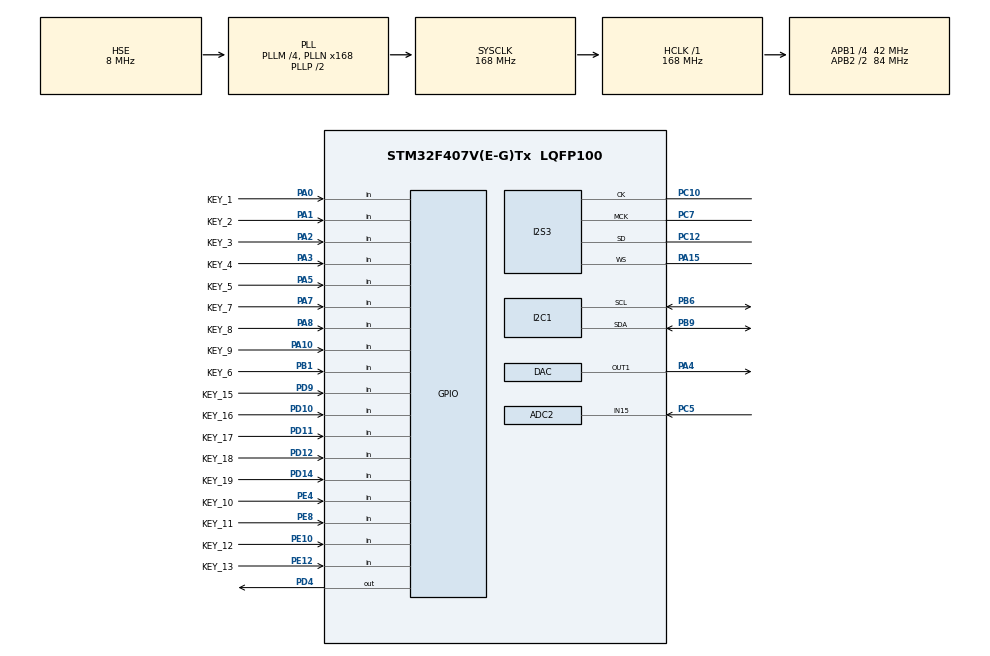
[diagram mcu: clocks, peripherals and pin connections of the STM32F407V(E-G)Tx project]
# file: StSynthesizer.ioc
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ADC2.Channel-0\#ChannelRegularConversion=ADC_CHANNEL_15
ADC2.NbrOfConversionFlag=1
ADC2.Rank-0\#ChannelRegularConversion=1
ADC2.SamplingTime-0\#ChannelRegularConversion=ADC_SAMPLETIME_3CYCLES
Dma.Request0=SPI3_TX
Dma.SPI3_TX.0.Direction=DMA_MEMORY_TO_PERIPH
Dma.SPI3_TX.0.FIFOMode=DMA_FIFOMODE_DISABLE
Dma.SPI3_TX.0.Instance=DMA1_Stream5
Dma.SPI3_TX.0.MemDataAlignment=DMA_MDATAALIGN_HALFWORD
Dma.SPI3_TX.0.MemInc=DMA_MINC_ENABLE
Dma.SPI3_TX.0.Mode=DMA_CIRCULAR
Dma.SPI3_TX.0.PeriphDataAlignment=DMA_PDATAALIGN_HALFWORD
Dma.SPI3_TX.0.PeriphInc=DMA_PINC_DISABLE
Dma.SPI3_TX.0.Priority=DMA_PRIORITY_LOW
I2S3.AudioFreq=I2S_AUDIOFREQ_48K
I2S3.ErrorAudioFreq=1.72 %
I2S3.FullDuplexMode=I2S_FULLDUPLEXMODE_DISABLE
I2S3.Instance=SPI$Index
I2S3.RealAudioFreq=48.828 KHz
I2S3.VirtualMode=I2S_MODE_MASTER
Mcu.Family=STM32F4
Mcu.Name=STM32F407V(E-G)Tx
Mcu.Package=LQFP100
NVIC.DMA1_Stream5_IRQn=true\:0\:0\:false\:false\:true\:false
NVIC.PriorityGroup=NVIC_PRIORITYGROUP_4
NVIC.TIM2_IRQn=true\:0\:0\:false\:false\:true\:true
NVIC.TIM3_IRQn=true\:0\:0\:false\:false\:true\:true
PA0-WKUP.GPIO_Label=KEY_1
PA0-WKUP.GPIO_PuPd=GPIO_PULLDOWN
PA0-WKUP.Signal=GPIO_Input
PA1.GPIO_Label=KEY_2
PA1.GPIO_PuPd=GPIO_PULLDOWN
PA1.Signal=GPIO_Input
PA10.GPIO_Label=KEY_9
PA10.GPIO_PuPd=GPIO_PULLDOWN
PA10.Signal=GPIO_Input
PA13.Mode=Trace_Asynchronous_SW
PA13.Signal=SYS_JTMS-SWDIO
PA14.Mode=Trace_Asynchronous_SW
PA14.Signal=SYS_JTCK-SWCLK
PA15.Mode=Half_Duplex_Master
PA15.Signal=I2S3_WS
PA2.GPIO_Label=KEY_3
PA2.GPIO_PuPd=GPIO_PULLDOWN
PA2.Signal=GPIO_Input
PA3.GPIO_Label=KEY_4
PA3.GPIO_PuPd=GPIO_PULLDOWN
PA3.Signal=GPIO_Input
PA4.Signal=COMP_DAC1_group
PA5.GPIO_Label=KEY_5
PA5.GPIO_PuPd=GPIO_PULLDOWN
PA5.Signal=GPIO_Input
PA7.GPIO_Label=KEY_7
PA7.GPIO_PuPd=GPIO_PULLDOWN
PA7.Signal=GPIO_Input
PA8.GPIO_Label=KEY_8
PA8.GPIO_PuPd=GPIO_PULLDOWN
PA8.Signal=GPIO_Input
PB1.GPIO_Label=KEY_6
PB1.GPIO_PuPd=GPIO_PULLDOWN
PB1.Signal=GPIO_Input
PB3.Mode=Trace_Asynchronous_SW
PB3.Signal=SYS_JTDO-SWO
PB6.Mode=I2C
PB6.Signal=I2C1_SCL
PB9.Mode=I2C
PB9.Signal=I2C1_SDA
PC10.Mode=Half_Duplex_Master
PC10.Signal=I2S3_CK
PC12.Mode=Half_Duplex_Master
PC12.Signal=I2S3_SD
PC5.Signal=ADCx_IN15
PC7.Mode=Master_Clock_Activated
PC7.Signal=I2S3_MCK
PD10.GPIO_Label=KEY_16
PD10.GPIO_PuPd=GPIO_PULLDOWN
PD10.Signal=GPIO_Input
PD11.GPIO_Label=KEY_17
PD11.GPIO_PuPd=GPIO_PULLDOWN
PD11.Signal=GPIO_Input
PD12.GPIO_Label=KEY_18
PD12.GPIO_PuPd=GPIO_PULLDOWN
PD12.Signal=GPIO_Input
PD14.GPIO_Label=KEY_19
PD14.GPIO_PuPd=GPIO_PULLDOWN
PD14.Signal=GPIO_Input
PD4.Signal=GPIO_Output
PD9.GPIO_Label=KEY_15
PD9.GPIO_PuPd=GPIO_PULLDOWN
PD9.Signal=GPIO_Input
PE10.GPIO_Label=KEY_12
PE10.GPIO_PuPd=GPIO_PULLDOWN
PE10.Signal=GPIO_Input
PE12.GPIO_Label=KEY_13
PE12.GPIO_PuPd=GPIO_PULLDOWN
PE12.Signal=GPIO_Input
PE4.GPIO_Label=KEY_10
PE4.GPIO_PuPd=GPIO_PULLDOWN
PE4.Signal=GPIO_Input
PE8.GPIO_Label=KEY_11
PE8.GPIO_PuPd=GPIO_PULLDOWN
PE8.Signal=GPIO_Input
PH0-OSC_IN.Mode=HSE-External-Oscillator
PH0-OSC_IN.Signal=RCC_OSC_IN
PH1-OSC_OUT.Mode=HSE-External-Oscillator
PH1-OSC_OUT.Signal=RCC_OSC_OUT
ProjectManager.HeapSize=0x200
ProjectManager.StackSize=0x400
ProjectManager.TargetToolchain=SW4STM32
RCC.48MHZClocksFreq_Value=84000000
RCC.AHBFreq_Value=168000000
RCC.APB1CLKDivider=RCC_HCLK_DIV4
RCC.APB1Freq_Value=42000000
RCC.APB1TimFreq_Value=84000000
RCC.APB2CLKDivider=RCC_HCLK_DIV2
RCC.APB2Freq_Value=84000000
RCC.APB2TimFreq_Value=168000000
RCC.CortexFreq_Value=168000000
RCC.HCLKFreq_Value=168000000
RCC.HSE_VALUE=8000000
RCC.HSI_VALUE=16000000
RCC.LSE_VALUE=32768
RCC.PLLI2SN=50
RCC.PLLM=4
RCC.PLLN=168
RCC.PLLSourceVirtual=RCC_PLLSOURCE_HSE
RCC.SYSCLKFreq_VALUE=168000000
RCC.SYSCLKSource=RCC_SYSCLKSOURCE_PLLCLK
RCC.VCOOutputFreq_Value=336000000
SH.ADCx_IN15.0=ADC2_IN15,IN15
SH.COMP_DAC1_group.0=DAC_OUT1,DAC_OUT1
TIM2.Period=35-1
TIM2.Prescaler=200-1
TIM3.Period=168-1
TIM3.Prescaler=5000-1
TIM3.TIM_MasterSlaveMode=TIM_MASTERSLAVEMODE_DISABLE
VP_TIM2_VS_ClockSourceINT.Mode=Internal
VP_TIM3_VS_ClockSourceINT.Mode=Internal
board=custom

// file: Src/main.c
/* USER CODE BEGIN Header */
/**
  ******************************************************************************
  * @file           : main.c
  * @brief          : Main program body
  ******************************************************************************
  ** This notice applies to any and all portions of this file
  * that are not between comment pairs USER CODE BEGIN and
  * USER CODE END. Other portions of this file, whether
  * inserted by the user or by software development tools
  * are owned by their respective copyright owners.
  *
  * COPYRIGHT(c) 2019 STMicroelectronics
  *
  * Redistribution and use in source and binary forms, with or without modification,
  * are permitted provided that the following conditions are met:
  *   1. Redistributions of source code must retain the above copyright notice,
  *      this list of conditions and the following disclaimer.
  *   2. Redistributions in binary form must reproduce the above copyright notice,
  *      this list of conditions and the following disclaimer in the documentation
  *      and/or other materials provided with the distribution.
  *   3. Neither the name of STMicroelectronics nor the names of its contributors
  *      may be used to endorse or promote products derived from this software
  *      without specific prior written permission.
  *
  * THIS SOFTWARE IS PROVIDED BY THE COPYRIGHT HOLDERS AND CONTRIBUTORS "AS IS"
  * AND ANY EXPRESS OR IMPLIED WARRANTIES, INCLUDING, BUT NOT LIMITED TO, THE
  * IMPLIED WARRANTIES OF MERCHANTABILITY AND FITNESS FOR A PARTICULAR PURPOSE ARE
  * DISCLAIMED. IN NO EVENT SHALL THE COPYRIGHT HOLDER OR CONTRIBUTORS BE LIABLE
  * FOR ANY DIRECT, INDIRECT, INCIDENTAL, SPECIAL, EXEMPLARY, OR CONSEQUENTIAL
  * DAMAGES (INCLUDING, BUT NOT LIMITED TO, PROCUREMENT OF SUBSTITUTE GOODS OR
  * SERVICES; LOSS OF USE, DATA, OR PROFITS; OR BUSINESS INTERRUPTION) HOWEVER
  * CAUSED AND ON ANY THEORY OF LIABILITY, WHETHER IN CONTRACT, STRICT LIABILITY,
  * OR TORT (INCLUDING NEGLIGENCE OR OTHERWISE) ARISING IN ANY WAY OUT OF THE USE
  * OF THIS SOFTWARE, EVEN IF ADVISED OF THE POSSIBILITY OF SUCH DAMAGE.
  *
  ******************************************************************************
  */
/* USER CODE END Header */

#include "main.h"
#include "stm32f4xx_hal.h"
#include "MY_CS43L22.h"
#include <math.h>
#include "sounds.h"
#include "key.h"

ADC_HandleTypeDef hadc2;

DAC_HandleTypeDef hdac;

I2C_HandleTypeDef hi2c1;

I2S_HandleTypeDef hi2s3;
DMA_HandleTypeDef hdma_spi3_tx;

TIM_HandleTypeDef htim2;
TIM_HandleTypeDef htim3;

/* USER CODE BEGIN PV */
#define NOTES 12
#define KEYS 18
float volume;

int key = 0;

float pressed;
uint16_t DACOut;

unsigned long time;

// current pin
uint8_t pins[NOTES];
uint8_t keys_pressed[3];
uint16_t debounce_pins_0[NOTES + 3];
uint16_t debounce_pins_1[NOTES + 3];
uint16_t i_t[NOTES];
float sumValues[NOTES];

Key keys[KEYS];
uint8_t notes_keys[NOTES];
NoteEnvelope envelopes[NOTES];

/*
void checkNotes() {
	if(debounce_pins_1[0] > 10)
		pins[0] =
	if(debounce_pins_1[1] > 10)
		pins[1] = HAL_GPIO_ReadPin(GPIOA, NOTE_2_Pin);
	if(debounce_pins_1[2] > 10)
		pins[2] = HAL_GPIO_ReadPin(GPIOA, NOTE_3_Pin);
	if(debounce_pins_1[3] > 10)
		pins[3] = HAL_GPIO_ReadPin(GPIOA, NOTE_4_Pin);
	if(debounce_pins_1[4] > 10)
		pins[4] = HAL_GPIO_ReadPin(GPIOA, NOTE_5_Pin);
	if(debounce_pins_1[5] > 10)
		pins[5] = HAL_GPIO_ReadPin(GPIOA, NOTE_6_Pin);
	if(debounce_pins_1[6] > 10)
		pins[6] = HAL_GPIO_ReadPin(GPIOC, NOTE_7_Pin);
	if(debounce_pins_1[7] > 10)
		pins[7] = HAL_GPIO_ReadPin(GPIOD, NOTE_8_Pin);
	if(debounce_pins_1[8] > 10)
		pins[8] = HAL_GPIO_ReadPin(GPIOD, NOTE_9_Pin);
	if(debounce_pins_1[9] > 10)
		pins[9] = HAL_GPIO_ReadPin(GPIOD, NOTE_10_Pin);
	if(debounce_pins_1[10] > 10)
		pins[10] = HAL_GPIO_ReadPin(GPIOD, NOTE_11_Pin);
	if(debounce_pins_1[11] > 10)
		pins[11] = HAL_GPIO_ReadPin(GPIOD, NOTE_12_Pin);
}

void checkKeys() {
	if(debounce_pins_1[12] > 10 && !keys_pressed[0]) {
		keys_pressed[0] = 1;

		if(currentOSC - 1 < 0) {
			currentOSC = 4;
		} else {
			currentOSC--;
		}
	}

	if(debounce_pins_1[13] > 10 && !keys_pressed[1]) {
		keys_pressed[1] = 1;

		if(currentOctave + 1 > 7) {
			currentOctave = 1;
		} else {
			currentOctave++;
		}
	}
}
*/

/* USER CODE END PV */

void SystemClock_Config(void);
static void MX_GPIO_Init(void);
static void MX_DMA_Init(void);
static void MX_I2C1_Init(void);
static void MX_I2S3_Init(void);
static void MX_TIM3_Init(void);
static void MX_DAC_Init(void);
static void MX_ADC2_Init(void);
static void MX_TIM2_Init(void);
/* USER CODE BEGIN PFP */
void HAL_GPIO_EXTI_Callback(uint16_t GPIO_Pin) {
	//checkNotes();
}

/* USER CODE END PFP */

/* USER CODE BEGIN 0 */
// used to generate sound
int16_t I2S_dummy[4];
float sinVal;

int notesPlaying() {
	int out = 0;

	for(int i = 0; i < NOTES; i++) {
		if(envelopes[i].is_playing || envelopes[i].is_releasing) out++;
	}

	return out;
}
/* USER CODE END 0 */

int main(void)
{

  /* MCU Configuration--------------------------------------------------------*/

  /* Reset of all peripherals, Initializes the Flash interface and the Systick. */
  HAL_Init();

  /* Configure the system clock */
  SystemClock_Config();

  /* Initialize all configured peripherals */
  MX_GPIO_Init();
  MX_DMA_Init();
  MX_I2C1_Init();
  MX_I2S3_Init();
  MX_TIM3_Init();
  MX_DAC_Init();
  MX_ADC2_Init();
  MX_TIM2_Init();
  /* USER CODE BEGIN 2 */

  // Audio stream initiazlization
  CS43_Init(hi2c1, MODE_ANALOG);
  CS43_SetVolume(50);
  CS43_Enable_RightLeft(CS43_RIGHT_LEFT);
  CS43_Start();

  // Start timer 2
  HAL_DAC_Start(&hdac, DAC_CHANNEL_1);

  HAL_TIM_Base_Start_IT(&htim2);
  HAL_TIM_Base_Start_IT(&htim3);

  HAL_I2S_Transmit_DMA(&hi2s3, (uint16_t *)I2S_dummy, 4);

  // initialize keys
  Key key_1 = {.pin_group = GPIOA, .pin = KEY_1_Pin};
  Key key_2 = {.pin_group = GPIOA, .pin = KEY_2_Pin};
  Key key_3 = {.pin_group = GPIOA, .pin = KEY_3_Pin};
  Key key_4 = {.pin_group = GPIOA, .pin = KEY_4_Pin};
  Key key_5 = {.pin_group = GPIOA, .pin = KEY_5_Pin};
  Key key_6 = {.pin_group = GPIOB, .pin = KEY_6_Pin};
  Key key_7 = {.pin_group = GPIOA, .pin = KEY_7_Pin};
  Key key_8 = {.pin_group = GPIOA, .pin = KEY_8_Pin};
  Key key_9 = {.pin_group = GPIOA, .pin = KEY_9_Pin};
  Key key_10 = {.pin_group = GPIOE, .pin = KEY_10_Pin};
  Key key_11 = {.pin_group = GPIOE, .pin = KEY_11_Pin};
  Key key_12 = {.pin_group = GPIOE, .pin = KEY_12_Pin};
  Key key_13 = {.pin_group = GPIOE, .pin = KEY_13_Pin};
  Key key_14 = {.pin_group = GPIOD, .pin = KEY_15_Pin};
  Key key_15 = {.pin_group = GPIOD, .pin = KEY_16_Pin};
  Key key_16 = {.pin_group = GPIOD, .pin = KEY_17_Pin};
  Key key_17 = {.pin_group = GPIOD, .pin = KEY_18_Pin};
  Key key_18 = {.pin_group = GPIOD, .pin = KEY_19_Pin};

  keys[0] = key_1;
  keys[1] = key_2;
  keys[2] = key_3;
  keys[3] = key_4;
  keys[4] = key_5;
  keys[5] = key_6;
  keys[6] = key_7;
  keys[7] = key_8;
  keys[8] = key_9;
  keys[9] = key_10;
  keys[10] = key_11;
  keys[11] = key_12;
  keys[12] = key_13;
  keys[13] = key_14;
  keys[14] = key_15;
  keys[15] = key_16;
  keys[16] = key_17;
  keys[17] = key_18;

  // set notes keys
  notes_keys[0] = 0;
  notes_keys[1] = 2;
  notes_keys[2] = 1;
  notes_keys[3] = 3;
  notes_keys[4] = 5;
  notes_keys[5] = 6;
  notes_keys[6] = 9;
  notes_keys[7] = 10;
  notes_keys[8] = 11;
  notes_keys[9] = 14;
  notes_keys[10] = 12;
  notes_keys[11] = 16;

  // set the envelopes
  NoteEnvelope envelope_1 = {.attackTime = 0.01f, .decayTime = 0.01f, .releaseTime = 0.1f, .startAmplitude = 1.0f, .sustainAmplitude = 0.8f};
  NoteEnvelope envelope_2 = {.attackTime = 0.01f, .decayTime = 0.01f, .releaseTime = 0.1f, .startAmplitude = 1.0f, .sustainAmplitude = 0.8f};
  NoteEnvelope envelope_3 = {.attackTime = 0.01f, .decayTime = 0.01f, .releaseTime = 0.1f, .startAmplitude = 1.0f, .sustainAmplitude = 0.8f};
  NoteEnvelope envelope_4 = {.attackTime = 0.01f, .decayTime = 0.01f, .releaseTime = 0.1f, .startAmplitude = 1.0f, .sustainAmplitude = 0.8f};
  NoteEnvelope envelope_5 = {.attackTime = 0.01f, .decayTime = 0.01f, .releaseTime = 0.1f, .startAmplitude = 1.0f, .sustainAmplitude = 0.8f};
  NoteEnvelope envelope_6 = {.attackTime = 0.01f, .decayTime = 0.01f, .releaseTime = 0.1f, .startAmplitude = 1.0f, .sustainAmplitude = 0.8f};
  NoteEnvelope envelope_7 = {.attackTime = 0.01f, .decayTime = 0.01f, .releaseTime = 0.1f, .startAmplitude = 1.0f, .sustainAmplitude = 0.8f};
  NoteEnvelope envelope_8 = {.attackTime = 0.01f, .decayTime = 0.01f, .releaseTime = 0.1f, .startAmplitude = 1.0f, .sustainAmplitude = 0.8f};
  NoteEnvelope envelope_9 = {.attackTime = 0.01f, .decayTime = 0.01f, .releaseTime = 0.1f, .startAmplitude = 1.0f, .sustainAmplitude = 0.8f};
  NoteEnvelope envelope_10 = {.attackTime = 0.01f, .decayTime = 0.01f, .releaseTime = 0.1f, .startAmplitude = 1.0f, .sustainAmplitude = 0.8f};
  NoteEnvelope envelope_11 = {.attackTime = 0.01f, .decayTime = 0.01f, .releaseTime = 0.1f, .startAmplitude = 1.0f, .sustainAmplitude = 0.8f};
  NoteEnvelope envelope_12 = {.attackTime = 0.01f, .decayTime = 0.01f, .releaseTime = 0.1f, .startAmplitude = 1.0f, .sustainAmplitude = 0.8f};

  envelopes[0] = envelope_1;
  envelopes[1] = envelope_2;
  envelopes[2] = envelope_3;
  envelopes[3] = envelope_4;
  envelopes[4] = envelope_5;
  envelopes[5] = envelope_6;
  envelopes[6] = envelope_7;
  envelopes[7] = envelope_8;
  envelopes[8] = envelope_9;
  envelopes[9] = envelope_10;
  envelopes[10] = envelope_11;
  envelopes[11] = envelope_12;

  /* USER CODE END 2 */

  /* Infinite loop */
  while (1)
  {

  }
}

void SystemClock_Config(void)
{
  RCC_OscInitTypeDef RCC_OscInitStruct = {0};
  RCC_ClkInitTypeDef RCC_ClkInitStruct = {0};
  RCC_PeriphCLKInitTypeDef PeriphClkInitStruct = {0};

  /**Configure the main internal regulator output voltage
  */
  __HAL_RCC_PWR_CLK_ENABLE();
  __HAL_PWR_VOLTAGESCALING_CONFIG(PWR_REGULATOR_VOLTAGE_SCALE1);
  /**Initializes the CPU, AHB and APB busses clocks
  */
  RCC_OscInitStruct.OscillatorType = RCC_OSCILLATORTYPE_HSE;
  RCC_OscInitStruct.HSEState = RCC_HSE_ON;
  RCC_OscInitStruct.PLL.PLLState = RCC_PLL_ON;
  RCC_OscInitStruct.PLL.PLLSource = RCC_PLLSOURCE_HSE;
  RCC_OscInitStruct.PLL.PLLM = 4;
  RCC_OscInitStruct.PLL.PLLN = 168;
  RCC_OscInitStruct.PLL.PLLP = RCC_PLLP_DIV2;
  RCC_OscInitStruct.PLL.PLLQ = 4;
  if (HAL_RCC_OscConfig(&RCC_OscInitStruct) != HAL_OK)
  {
    Error_Handler();
  }
  /**Initializes the CPU, AHB and APB busses clocks
  */
  RCC_ClkInitStruct.ClockType = RCC_CLOCKTYPE_HCLK|RCC_CLOCKTYPE_SYSCLK
                              |RCC_CLOCKTYPE_PCLK1|RCC_CLOCKTYPE_PCLK2;
  RCC_ClkInitStruct.SYSCLKSource = RCC_SYSCLKSOURCE_PLLCLK;
  RCC_ClkInitStruct.AHBCLKDivider = RCC_SYSCLK_DIV1;
  RCC_ClkInitStruct.APB1CLKDivider = RCC_HCLK_DIV4;
  RCC_ClkInitStruct.APB2CLKDivider = RCC_HCLK_DIV2;

  if (HAL_RCC_ClockConfig(&RCC_ClkInitStruct, FLASH_LATENCY_5) != HAL_OK)
  {
    Error_Handler();
  }
  PeriphClkInitStruct.PeriphClockSelection = RCC_PERIPHCLK_I2S;
  PeriphClkInitStruct.PLLI2S.PLLI2SN = 50;
  PeriphClkInitStruct.PLLI2S.PLLI2SR = 2;
  if (HAL_RCCEx_PeriphCLKConfig(&PeriphClkInitStruct) != HAL_OK)
  {
    Error_Handler();
  }
}

static void MX_ADC2_Init(void)
{

  ADC_ChannelConfTypeDef sConfig = {0};

  /**Configure the global features of the ADC (Clock, Resolution, Data Alignment and number of conversion)
  */
  hadc2.Instance = ADC2;
  hadc2.Init.ClockPrescaler = ADC_CLOCK_SYNC_PCLK_DIV4;
  hadc2.Init.Resolution = ADC_RESOLUTION_12B;
  hadc2.Init.ScanConvMode = DISABLE;
  hadc2.Init.ContinuousConvMode = DISABLE;
  hadc2.Init.DiscontinuousConvMode = DISABLE;
  hadc2.Init.ExternalTrigConvEdge = ADC_EXTERNALTRIGCONVEDGE_NONE;
  hadc2.Init.ExternalTrigConv = ADC_SOFTWARE_START;
  hadc2.Init.DataAlign = ADC_DATAALIGN_RIGHT;
  hadc2.Init.NbrOfConversion = 1;
  hadc2.Init.DMAContinuousRequests = DISABLE;
  hadc2.Init.EOCSelection = ADC_EOC_SINGLE_CONV;
  if (HAL_ADC_Init(&hadc2) != HAL_OK)
  {
    Error_Handler();
  }
  /**Configure for the selected ADC regular channel its corresponding rank in the sequencer and its sample time.
  */
  sConfig.Channel = ADC_CHANNEL_15;
  sConfig.Rank = 1;
  sConfig.SamplingTime = ADC_SAMPLETIME_3CYCLES;
  if (HAL_ADC_ConfigChannel(&hadc2, &sConfig) != HAL_OK)
  {
    Error_Handler();
  }

}

static void MX_DAC_Init(void)
{

  DAC_ChannelConfTypeDef sConfig = {0};

  /**DAC Initialization
  */
  hdac.Instance = DAC;
  if (HAL_DAC_Init(&hdac) != HAL_OK)
  {
    Error_Handler();
  }
  /**DAC channel OUT1 config
  */
  sConfig.DAC_Trigger = DAC_TRIGGER_NONE;
  sConfig.DAC_OutputBuffer = DAC_OUTPUTBUFFER_ENABLE;
  if (HAL_DAC_ConfigChannel(&hdac, &sConfig, DAC_CHANNEL_1) != HAL_OK)
  {
    Error_Handler();
  }

}

static void MX_I2C1_Init(void)
{

  hi2c1.Instance = I2C1;
  hi2c1.Init.ClockSpeed = 100000;
  hi2c1.Init.DutyCycle = I2C_DUTYCYCLE_2;
  hi2c1.Init.OwnAddress1 = 0;
  hi2c1.Init.AddressingMode = I2C_ADDRESSINGMODE_7BIT;
  hi2c1.Init.DualAddressMode = I2C_DUALADDRESS_DISABLE;
  hi2c1.Init.OwnAddress2 = 0;
  hi2c1.Init.GeneralCallMode = I2C_GENERALCALL_DISABLE;
  hi2c1.Init.NoStretchMode = I2C_NOSTRETCH_DISABLE;
  if (HAL_I2C_Init(&hi2c1) != HAL_OK)
  {
    Error_Handler();
  }

}

static void MX_I2S3_Init(void)
{

  hi2s3.Instance = SPI3;
  hi2s3.Init.Mode = I2S_MODE_MASTER_TX;
  hi2s3.Init.Standard = I2S_STANDARD_PHILIPS;
  hi2s3.Init.DataFormat = I2S_DATAFORMAT_16B;
  hi2s3.Init.MCLKOutput = I2S_MCLKOUTPUT_ENABLE;
  hi2s3.Init.AudioFreq = I2S_AUDIOFREQ_48K;
  hi2s3.Init.CPOL = I2S_CPOL_LOW;
  hi2s3.Init.ClockSource = I2S_CLOCK_PLL;
  hi2s3.Init.FullDuplexMode = I2S_FULLDUPLEXMODE_DISABLE;
  if (HAL_I2S_Init(&hi2s3) != HAL_OK)
  {
    Error_Handler();
  }

}

static void MX_TIM2_Init(void)
{

  TIM_ClockConfigTypeDef sClockSourceConfig = {0};
  TIM_MasterConfigTypeDef sMasterConfig = {0};

  htim2.Instance = TIM2;
  htim2.Init.Prescaler = 200-1;
  htim2.Init.CounterMode = TIM_COUNTERMODE_UP;
  htim2.Init.Period = 35-1;
  htim2.Init.ClockDivision = TIM_CLOCKDIVISION_DIV1;
  if (HAL_TIM_Base_Init(&htim2) != HAL_OK)
  {
    Error_Handler();
  }
  sClockSourceConfig.ClockSource = TIM_CLOCKSOURCE_INTERNAL;
  if (HAL_TIM_ConfigClockSource(&htim2, &sClockSourceConfig) != HAL_OK)
  {
    Error_Handler();
  }
  sMasterConfig.MasterOutputTrigger = TIM_TRGO_RESET;
  sMasterConfig.MasterSlaveMode = TIM_MASTERSLAVEMODE_DISABLE;
  if (HAL_TIMEx_MasterConfigSynchronization(&htim2, &sMasterConfig) != HAL_OK)
  {
    Error_Handler();
  }

}

static void MX_TIM3_Init(void)
{

  TIM_ClockConfigTypeDef sClockSourceConfig = {0};
  TIM_MasterConfigTypeDef sMasterConfig = {0};

  htim3.Instance = TIM3;
  htim3.Init.Prescaler = 5000-1;
  htim3.Init.CounterMode = TIM_COUNTERMODE_UP;
  htim3.Init.Period = 168-1;
  htim3.Init.ClockDivision = TIM_CLOCKDIVISION_DIV1;
  if (HAL_TIM_Base_Init(&htim3) != HAL_OK)
  {
    Error_Handler();
  }
  sClockSourceConfig.ClockSource = TIM_CLOCKSOURCE_INTERNAL;
  if (HAL_TIM_ConfigClockSource(&htim3, &sClockSourceConfig) != HAL_OK)
  {
    Error_Handler();
  }
  sMasterConfig.MasterOutputTrigger = TIM_TRGO_RESET;
  sMasterConfig.MasterSlaveMode = TIM_MASTERSLAVEMODE_DISABLE;
  if (HAL_TIMEx_MasterConfigSynchronization(&htim3, &sMasterConfig) != HAL_OK)
  {
    Error_Handler();
  }

}

static void MX_DMA_Init(void)
{
  /* DMA controller clock enable */
  __HAL_RCC_DMA1_CLK_ENABLE();

  /* DMA interrupt init */
  /* DMA1_Stream5_IRQn interrupt configuration */
  HAL_NVIC_SetPriority(DMA1_Stream5_IRQn, 0, 0);
  HAL_NVIC_EnableIRQ(DMA1_Stream5_IRQn);

}

static void MX_GPIO_Init(void)
{
  GPIO_InitTypeDef GPIO_InitStruct = {0};

  /* GPIO Ports Clock Enable */
  __HAL_RCC_GPIOE_CLK_ENABLE();
  __HAL_RCC_GPIOH_CLK_ENABLE();
  __HAL_RCC_GPIOA_CLK_ENABLE();
  __HAL_RCC_GPIOC_CLK_ENABLE();
  __HAL_RCC_GPIOB_CLK_ENABLE();
  __HAL_RCC_GPIOD_CLK_ENABLE();

  /*Configure GPIO pin Output Level */
  HAL_GPIO_WritePin(GPIOD, GPIO_PIN_4, GPIO_PIN_RESET);

  /*Configure GPIO pins : KEY_10_Pin KEY_11_Pin KEY_12_Pin KEY_13_Pin */
  GPIO_InitStruct.Pin = KEY_10_Pin|KEY_11_Pin|KEY_12_Pin|KEY_13_Pin;
  GPIO_InitStruct.Mode = GPIO_MODE_INPUT;
  GPIO_InitStruct.Pull = GPIO_PULLDOWN;
  HAL_GPIO_Init(GPIOE, &GPIO_InitStruct);

  /*Configure GPIO pins : KEY_1_Pin KEY_2_Pin KEY_3_Pin KEY_4_Pin
                           KEY_5_Pin KEY_7_Pin KEY_8_Pin KEY_9_Pin */
  GPIO_InitStruct.Pin = KEY_1_Pin|KEY_2_Pin|KEY_3_Pin|KEY_4_Pin
                          |KEY_5_Pin|KEY_7_Pin|KEY_8_Pin|KEY_9_Pin;
  GPIO_InitStruct.Mode = GPIO_MODE_INPUT;
  GPIO_InitStruct.Pull = GPIO_PULLDOWN;
  HAL_GPIO_Init(GPIOA, &GPIO_InitStruct);

  /*Configure GPIO pin : KEY_6_Pin */
  GPIO_InitStruct.Pin = KEY_6_Pin;
  GPIO_InitStruct.Mode = GPIO_MODE_INPUT;
  GPIO_InitStruct.Pull = GPIO_PULLDOWN;
  HAL_GPIO_Init(KEY_6_GPIO_Port, &GPIO_InitStruct);

  /*Configure GPIO pins : KEY_15_Pin KEY_16_Pin KEY_17_Pin KEY_18_Pin
                           KEY_19_Pin */
  GPIO_InitStruct.Pin = KEY_15_Pin|KEY_16_Pin|KEY_17_Pin|KEY_18_Pin
                          |KEY_19_Pin;
  GPIO_InitStruct.Mode = GPIO_MODE_INPUT;
  GPIO_InitStruct.Pull = GPIO_PULLDOWN;
  HAL_GPIO_Init(GPIOD, &GPIO_InitStruct);

  /*Configure GPIO pin : PD4 */
  GPIO_InitStruct.Pin = GPIO_PIN_4;
  GPIO_InitStruct.Mode = GPIO_MODE_OUTPUT_PP;
  GPIO_InitStruct.Pull = GPIO_NOPULL;
  GPIO_InitStruct.Speed = GPIO_SPEED_FREQ_LOW;
  HAL_GPIO_Init(GPIOD, &GPIO_InitStruct);

}

/* USER CODE BEGIN 4 */
void HAL_TIM_PeriodElapsedCallback(TIM_HandleTypeDef *htim) {
	UNUSED(htim);

	if(htim->Instance == TIM2) {
		pressed = notesPlaying();

		if(pressed == 0) {
			HAL_DAC_SetValue(&hdac, DAC_CHANNEL_1, DAC_ALIGN_12B_R, 1);
		}

		if(envelopes[0].is_playing || envelopes[0].is_releasing) {
		  float soundVal = generateWaves(C, time, getOSCType(currentOSC), envelopes[0]);

		  sumValues[0] = soundVal;
		}
		if(envelopes[1].is_playing || envelopes[1].is_releasing) {
		  float soundVal = generateWaves(Cs, time, getOSCType(currentOSC), envelopes[1]);

		  sumValues[1] = soundVal;
		}
		if(envelopes[2].is_playing || envelopes[2].is_releasing) {
		  float soundVal = generateWaves(D, time, getOSCType(currentOSC), envelopes[2]);

		  sumValues[2] = soundVal;
		}
		if(envelopes[3].is_playing || envelopes[3].is_releasing) {
		  float soundVal = generateWaves(Ds, time, getOSCType(currentOSC), envelopes[3]);

		  sumValues[3] = soundVal;
		}
		if(envelopes[4].is_playing || envelopes[4].is_releasing) {
		  float soundVal = generateWaves(E, time, getOSCType(currentOSC), envelopes[4]);

		  sumValues[4] = soundVal;
		}
		if(envelopes[5].is_playing || envelopes[5].is_releasing) {
		  float soundVal = generateWaves(F, time, getOSCType(currentOSC), envelopes[5]);

		  sumValues[5] = soundVal;
		}
		if(envelopes[6].is_playing || envelopes[6].is_releasing) {
		  float soundVal = generateWaves(Fs, time, getOSCType(currentOSC), envelopes[6]);

		  sumValues[6] = soundVal;
		}
		if(envelopes[7].is_playing || envelopes[7].is_releasing) {
		  float soundVal = generateWaves(G, time, getOSCType(currentOSC), envelopes[7]);

		  sumValues[7] = soundVal;
		}
		if(envelopes[8].is_playing || envelopes[8].is_releasing) {
		  float soundVal = generateWaves(Gs, time, getOSCType(currentOSC), envelopes[8]);

		  sumValues[8] = soundVal;
		}
		if(envelopes[9].is_playing || envelopes[9].is_releasing) {
		  float soundVal = generateWaves(A, time, getOSCType(currentOSC), envelopes[9]);

		  sumValues[9] = soundVal;
		}
		if(envelopes[10].is_playing || envelopes[10].is_releasing) {
		  float soundVal = generateWaves(Bf, time, getOSCType(currentOSC), envelopes[10]);

		  sumValues[10] = soundVal;
		}
		if(envelopes[11].is_playing || envelopes[11].is_releasing) {
		  float soundVal = generateWaves(B, time, getOSCType(currentOSC), envelopes[11]);

		  sumValues[11] = soundVal;
		}

		float DACTemp = 0;

		for(int i = 0; i < 12; i++) {
		  DACTemp += sumValues[i]/(float)pressed;
		}

		DACOut = (DACTemp + 1) * 2047;

		HAL_DAC_SetValue(&hdac, DAC_CHANNEL_1, DAC_ALIGN_12B_R, DACOut);

		for(int i = 0; i < NOTES; i++) {
			 sumValues[i] = 0;
		}

		// global timer
		time++;

		// envelope timer
		for(int i = 0; i < 12; i++) {
			if(envelopes[i].is_playing) {
				envelopes[i].time += 1.0f/16000.0f;
			}

			if(envelopes[i].is_releasing) {
				envelopes[i].time += 1.0f/16000.0f;

				if(envelopes[i].time > envelopes[i].releaseTime) {
					envelopes[i].time = 0;
					envelopes[i].is_releasing = 0;
				}
			}

		}
	}

	// Timer 3 is a timer used for key (click, hold, release) actions
	// The speed of this timer is 100 loops each second (10 ms for each loop)
	if(htim->Instance == TIM3) {
		for(int i = 0; i < KEYS; i++) {
			// on click
			if(HAL_GPIO_ReadPin(keys[i].pin_group, keys[i].pin) == GPIO_PIN_SET && keys[i].is_ready == 1) {
				// your code here, add if for given i

				if(i == 15) {
					currentOSC--;
					if(currentOSC < 0) {
						currentOSC = 5;
					}

				}
				if(i == 13) {
					currentOSC++;
					currentOSC %= 6;
				}

				if(i == 8) {
					currentOctave--;
					if(currentOctave == 0) {
						currentOctave = 7;
					}
				}

				if(i == 7) {
					currentOctave++;
					currentOctave %= 8;
					if(currentOctave == 0) {
						currentOctave = 1;
					}
				}

				for(int j = 0; j < NOTES; j++) {
					if(i == notes_keys[j]) {
						envelopes[j].is_playing = 1;
						envelopes[j].is_releasing = 0;
					}
				}

				keys[i].is_clicked = 1;
				keys[i].is_ready = 0;
			}

			// on ready
			if(HAL_GPIO_ReadPin(keys[i].pin_group, keys[i].pin) == GPIO_PIN_SET && keys[i].is_ready == 0 && keys[i].is_clicked == 0) {
				// your code

				keys[i].is_ready = 1;
			}

			// on hold
			if(HAL_GPIO_ReadPin(keys[i].pin_group, keys[i].pin) == GPIO_PIN_SET && keys[i].is_clicked == 1) {
				// your code here, add if for given i

			}

			// on release
			if(HAL_GPIO_ReadPin(keys[i].pin_group, keys[i].pin) == GPIO_PIN_RESET && keys[i].is_clicked == 1) {
				// your code here, add if for given i

				for(int j = 0; j < NOTES; j++) {
					if(i == notes_keys[j]) {
						envelopes[j].is_playing = 0;
						envelopes[j].is_releasing = 1;
						envelopes[j].time = 0;
					}
				}

				keys[i].is_clicked = 0;
			}
		}
	}
}

/* USER CODE END 4 */

void Error_Handler(void)
{
}

/************************ (C) COPYRIGHT STMicroelectronics *****END OF FILE****/
